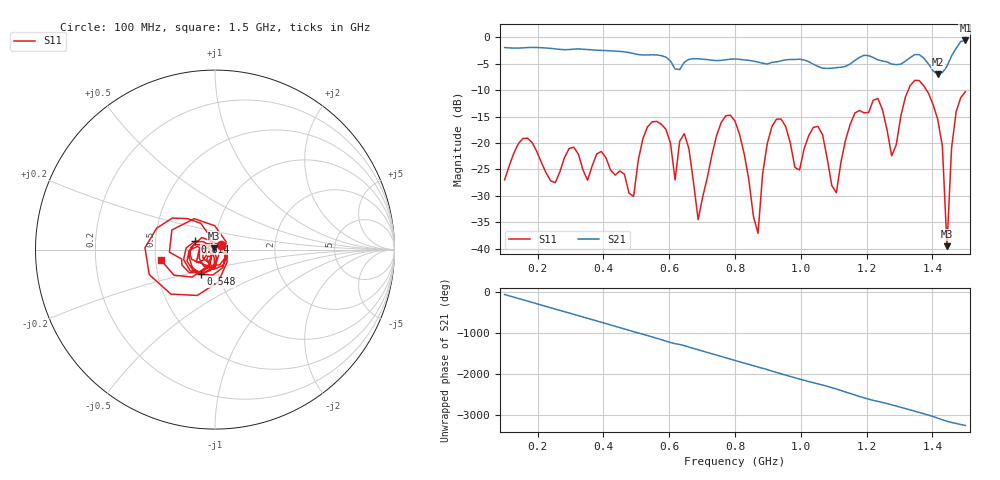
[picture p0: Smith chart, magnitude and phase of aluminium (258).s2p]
! NanoVNA-App
! Date: 2025-09-25 14:57:17
! Start: 100MHz Stop: 1,5GHz Points: 101
! S-Parameter data: F S11 S21 S12 S22
# Hz S RI R 50
!  Frequency  S11_Real  S11_Imag  S21_Real  S21_Imag  S12_Real  S12_Imag  S22_Real  S22_Imag
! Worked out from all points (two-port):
!   101 points, 100 MHz to 1.5 GHz, reference 50 ohm
!   highest |S21| = -0.58 dB at 1.5 GHz (marker M1); lowest = -7.0 dB at 1.416 GHz (marker M2)
!   |S21| within 3 dB of the highest: start of sweep to 582.5 MHz; 1.457 GHz to end of sweep (the widest 2 of 4)
!   lowest |S11| = -39.5 dB at 1.444 GHz (marker M3), VSWR 1.02, Z = 49.2 + j0.686 ohm
!   |S11| at or under -10 dB: start of sweep to 1.326 GHz; 1.382 GHz to end of sweep
!   S12 and S22 are empty: the file has one direction only
!   S11 on the Smith chart (normalised r, x): 100 MHz: 1.07, +0.06; 548 MHz: 0.82, -0.23; 814 MHz: 0.80, +0.07; 1.5 GHz: 0.54, -0.07
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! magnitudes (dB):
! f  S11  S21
! 100 MHz  -27.0  -1.9
! 338 MHz  -25.0  -2.2
! 492 MHz  -30.1  -3.1
! 548 MHz  -16.0  -3.3
! 576 MHz  -16.4  -3.5
! 618 MHz  -27.0  -6.0
! 646 MHz  -18.2  -4.7
! 688 MHz  -34.5  -4.1
! 800 MHz  -15.9  -4.1
! 814 MHz  -18.4  -4.1
! 870 MHz  -37.1  -4.7
! 912 MHz  -16.9  -4.7
! 996 MHz  -25.1  -4.1
! 1.038 GHz  -17.0  -5.1
! 1.108 GHz  -29.4  -5.7
! 1.22 GHz  -11.9  -3.8
! 1.276 GHz  -22.4  -5.1
! 1.346 GHz  -8.1  -3.3
! 1.416 GHz  -15.5  -7.0
! 1.444 GHz  -39.5  -5.5
! 1.458 GHz  -21.0  -3.5
! 1.5 GHz  -10.3  -0.6
